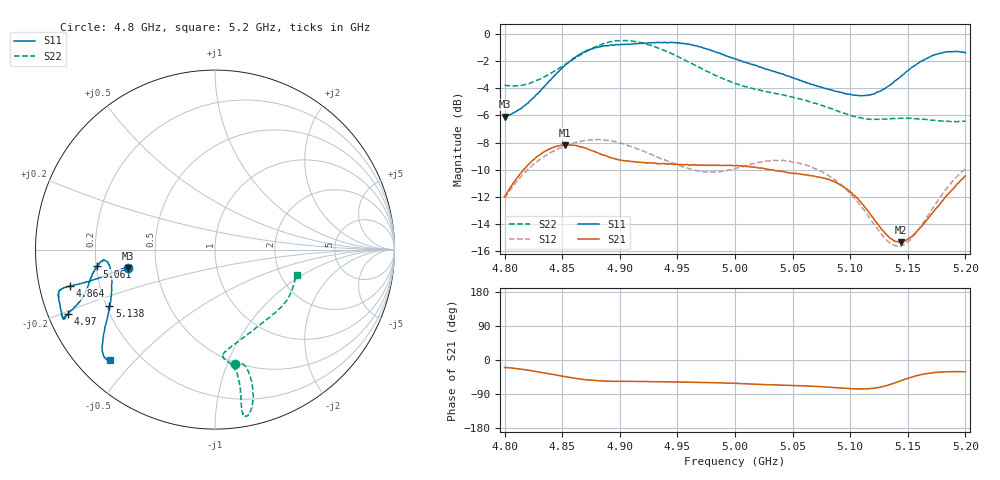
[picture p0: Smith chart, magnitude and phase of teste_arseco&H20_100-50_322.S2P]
! Network Analyzer HP8722D
! Hewlett-Packard
! Data name: Linha & Wilkinson
! Saver's name: Rodrigo Anjos
! Comments: Teste da utilização de aquisição
! continua pelo VNA HP8722D
! Time and date: 6/5/2025 15:15
!  Frequency  S11  S21  S12  S22
# HZ  S  MA R 50
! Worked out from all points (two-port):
!   401 points, 4.8 GHz to 5.2 GHz, reference 50 ohm
!   highest |S21| = -8.17 dB at 4.852 GHz (marker M1); lowest = -15.3 dB at 5.144 GHz (marker M2)
!   |S21| within 3 dB of the highest: 4.806 GHz to 5.093 GHz (286.6 MHz wide, 5.79 % of centre); 5.191735 GHz to end of sweep
!   lowest |S11| = -6.1 dB at 4.8 GHz (marker M3), VSWR 2.97, Z = 17 - j4.6 ohm
!   |S11| at or under -10 dB: nowhere
!   |S22| runs from -6.5 to -0.5 dB; largest |S21 - S12| = 0.62
!   S11 on the Smith chart (normalised r, x): 4.8 GHz: 0.34, -0.09; 4.864 GHz: 0.09, -0.12; 4.97 GHz: 0.06, -0.21; 5.061 GHz: 0.20, -0.07; 5.138 GHz: 0.21, -0.24; 5.2 GHz: 0.09, -0.43
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4.8e9  0.4962 -168.1  0.252 -19.6  0.2484 -140.8  0.6476 -80.3
4.826e9  0.5876 -167.2  0.3468 -29.6  0.3328 -144.5  0.6676 -75.6
4.852e9  0.7632 -165.8  0.3904 -43.7  0.3868 -149.3  0.7683 -74.6
4.864e9  0.835 -165.9  0.3863 -49.5  0.4004 -151.4  0.826 -75.2
4.867e9  0.849 -165.9  0.3839 -50.7  0.4028 -151.9  0.8424 -75.4
4.88e9  0.8902 -165.4  0.3663 -54.7  0.4084 -154.1  0.9002 -76.7
4.898e9  0.9113 -162.9  0.3448 -56.3  0.3984 -156.4  0.9422 -78.8
4.914e9  0.9199 -159.6  0.3378 -56.4  0.3788 -157.1  0.9363 -80.2
4.934e9  0.9304 -156.4  0.3324 -57.4  0.3503 -155.7  0.8839 -80.5
4.97e9  0.8946 -156.3  0.3292 -59.1  0.3127 -146.9  0.7476 -79.5
5e9  0.8095 -158.8  0.3273 -61.7  0.32 -137.1  0.6569 -81.2
5.036e9  0.7212 -165.6  0.3137 -65.8  0.3418 -134.3  0.6025 -85.6
5.061e9  0.6653 -171.9  0.3028 -68.3  0.3299 -136.2  0.5702 -84.0
5.067e9  0.6519 -173.0  0.3006 -69.1  0.3232 -136.7  0.5586 -82.6
5.083e9  0.6225 -174.4  0.2888 -72.2  0.2978 -138.2  0.5308 -76.7
5.101e9  0.5987 -172.0  0.2611 -75.7  0.2556 -138.7  0.5002 -66.5
5.116e9  0.5953 -165.5  0.2213 -75.9  0.2128 -135.5  0.4851 -55.8
5.134e9  0.646 -154.1  0.1781 -65.3  0.1707 -120.8  0.4865 -43.3
5.138e9  0.6679 -151.8  0.1733 -61.3  0.1667 -115.7  0.4873 -40.9
5.144e9  0.6978 -148.8  0.1711 -54.8  0.1656 -107.5  0.489 -37.3
5.172e9  0.8336 -139.0  0.2209 -33.5  0.2292 -81.1  0.4807 -24.5
5.2e9  0.8519 -133.5  0.3002 -31.1  0.3187 -76.8  0.4766 -17.5
